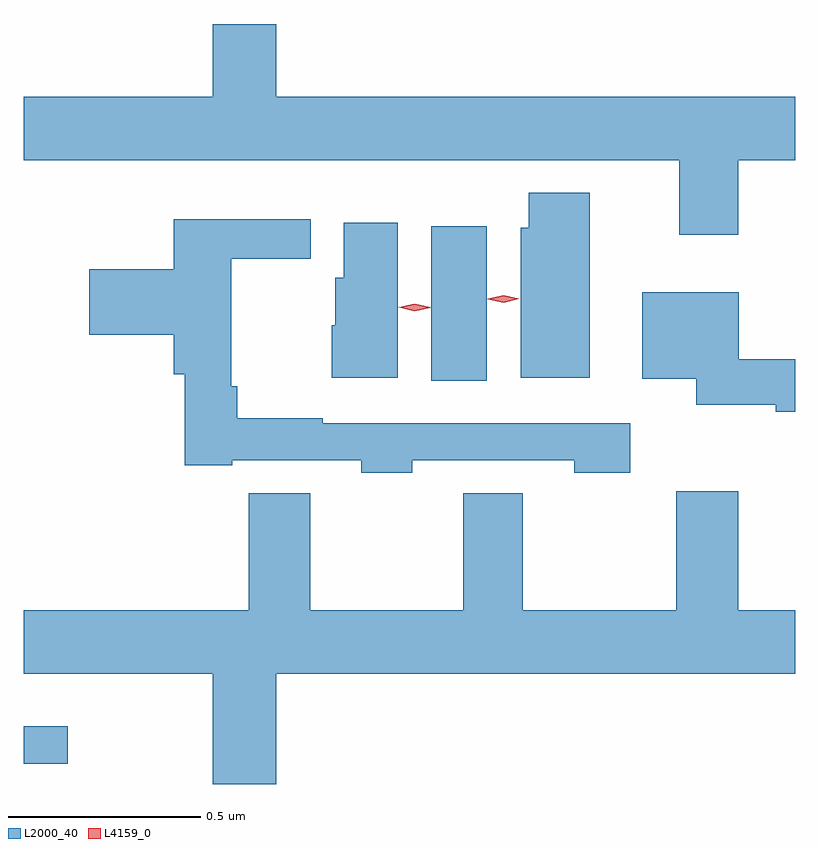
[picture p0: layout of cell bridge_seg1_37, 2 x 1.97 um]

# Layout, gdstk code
import gdstk
lib = gdstk.Library(unit=1e-6, precision=1e-09)
def R(c, l, rs):  # rectangles x0, y0, x1, y1
    for r in rs: c.add(gdstk.rectangle(r[:2], r[2:], *l))
def P(c, l, *ps):  # polygons
    for p in ps: c.add(gdstk.Polygon(p, *l))
L2000_40 = (2000, 40)
L4159_0 = (4159, 0)

bridge_seg1_37 = lib.new_cell('bridge_seg1_37')
R(bridge_seg1_37, L2000_40, [(1015.666,559.491,1015.78,559.588), (1016.723,560.484,1016.866,560.884)])
P(bridge_seg1_37, L2000_40, [(1017.518,561.056),(1017.666,561.056),(1017.666,561.22),(1016.32,561.22),(1016.32,561.409),(1016.156,561.409),(1016.156,561.22),(1015.666,561.22),(1015.666,561.056),(1017.365,561.056),(1017.365,560.862),(1017.518,560.862)],
  [(1017.133,560.971),(1016.975,560.971),(1016.975,560.88),(1016.954,560.88),(1016.954,560.492),(1017.133,560.492)],
  [(1016.673,560.277),(1017.093,560.277),(1017.093,560.245),(1017.238,560.245),(1017.238,560.373),(1016.441,560.373),(1016.441,560.386),(1016.219,560.386),(1016.219,560.47),(1016.204,560.47),(1016.204,560.8),(1016.41,560.8),(1016.41,560.902),(1016.054,560.902),(1016.054,560.773),(1015.836,560.773),(1015.836,560.603),(1016.054,560.603),(1016.054,560.501),(1016.083,560.501),(1016.083,560.265),(1016.206,560.265),(1016.206,560.277),(1016.541,560.277),(1016.541,560.245),(1016.673,560.245)],
  [(1016.635,560.893),(1016.495,560.893),(1016.495,560.751),(1016.474,560.751),(1016.474,560.628),(1016.465,560.628),(1016.465,560.492),(1016.635,560.492)],
  [(1017.666,560.54),(1017.52,560.54),(1017.52,560.713),(1017.269,560.713),(1017.269,560.489),(1017.41,560.489),(1017.41,560.422),(1017.616,560.422),(1017.616,560.404),(1017.666,560.404)],
  [(1016.32,559.724),(1017.666,559.724),(1017.666,559.888),(1017.518,559.888),(1017.518,560.197),(1017.358,560.197),(1017.358,559.888),(1016.96,559.888),(1016.96,560.192),(1016.806,560.192),(1016.806,559.888),(1016.408,559.888),(1016.408,560.192),(1016.249,560.192),(1016.249,559.888),(1015.666,559.888),(1015.666,559.724),(1016.156,559.724),(1016.156,559.438),(1016.32,559.438)])
P(bridge_seg1_37, L4159_0, [(1016.91,560.686),(1016.869,560.695),(1016.869,560.695),(1016.869,560.696),(1016.91,560.706),(1016.95,560.696),(1016.95,560.696),(1016.95,560.696)],
  [(1016.679,560.664),(1016.638,560.674),(1016.638,560.674),(1016.638,560.675),(1016.68,560.684),(1016.72,560.674),(1016.72,560.673),(1016.72,560.673)])

lib.write_gds('bridge_seg1_37.gds')
